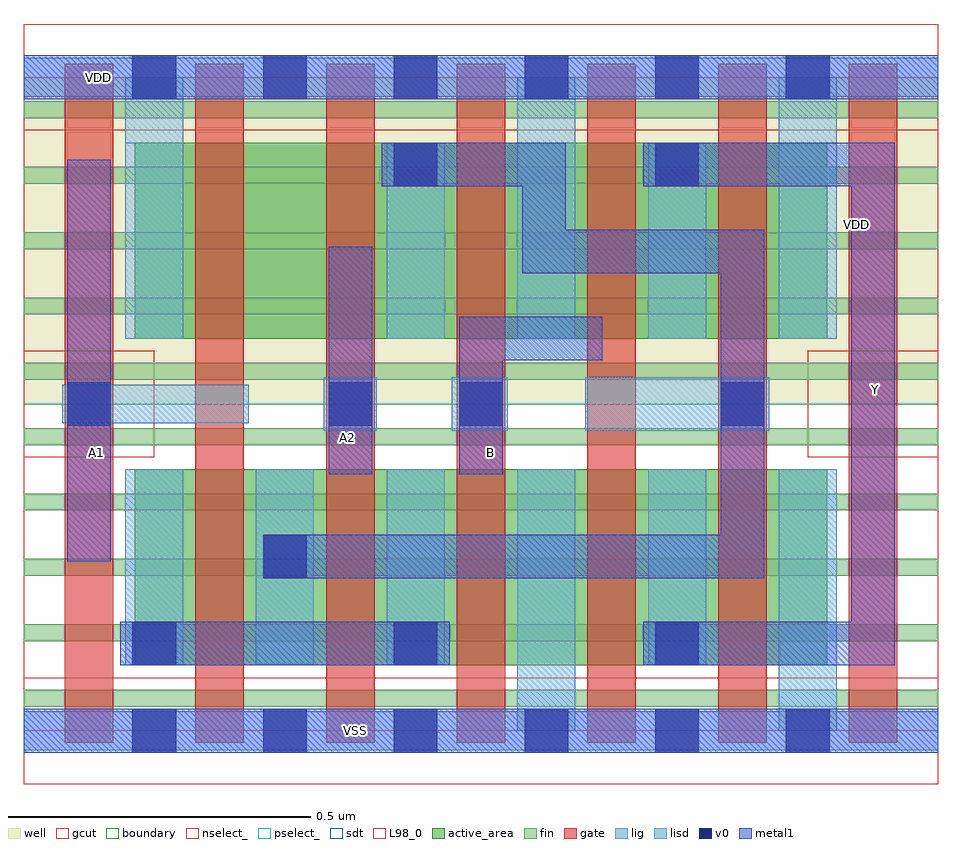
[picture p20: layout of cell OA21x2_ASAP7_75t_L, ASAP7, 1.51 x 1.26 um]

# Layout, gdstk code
import gdstk
lib = gdstk.Library(unit=1e-6, precision=2.5e-10)
def R(c, l, rs):  # rectangles x0, y0, x1, y1
    for r in rs: c.add(gdstk.rectangle(r[:2], r[2:], *l))
def A(c, l, x, y, w, h, nx, ny, dx, dy):  # array of equal rectangles
    R(c, l, [(x+i*dx, y+j*dy, x+i*dx+w, y+j*dy+h) for i in range(nx) for j in range(ny)])
def P(c, l, *ps):  # polygons
    for p in ps: c.add(gdstk.Polygon(p, *l))
well = (1, 0)
fin = (2, 0)
gate = (7, 0)
gcut = (10, 0)
active_area = (11, 0)
nselect_ = (12, 0)
pselect_ = (13, 0)
lig = (16, 0)
lisd = (17, 0)
v0 = (18, 0)
metal1 = (19, 0)
sdt = (88, 0)
L98_0 = (98, 0)
boundary = (100, 0)

oa21x2_asap7_75t_l = lib.new_cell('OA21x2_ASAP7_75t_L')
R(oa21x2_asap7_75t_l, well, [(0,0.54,1.512,1.08)])
A(oa21x2_asap7_75t_l, fin, 0, 0.04, 1.512, 0.028, 1, 10, 0, 0.108)
A(oa21x2_asap7_75t_l, gate, 0.068, -0.02, 0.08, 1.122, 7, 1, 0.216, 0)
R(oa21x2_asap7_75t_l, gcut, [(0,-0.088,1.512,0.088), (0,0.452,0.216,0.628), (1.296,0.452,1.512,0.628), (0,0.992,1.512,1.168)])
R(oa21x2_asap7_75t_l, active_area, [(0.184,0.108,1.328,0.432), (0.184,0.648,1.328,0.972)])
R(oa21x2_asap7_75t_l, nselect_, [(0,0,1.512,0.54)])
R(oa21x2_asap7_75t_l, pselect_, [(0,0.54,1.512,1.08)])
R(oa21x2_asap7_75t_l, lig, [(0,-0.032,1.512,0.032), (0.496,0.496,0.584,0.584), (0.708,0.496,0.8,0.584), (0.928,0.496,1.232,0.584), (0.064,0.508,0.372,0.572), (0,1.048,1.512,1.112)])
A(oa21x2_asap7_75t_l, lisd, 0.168, 0.108, 0.096, 0.324, 3, 1, 0.216, 0)
R(oa21x2_asap7_75t_l, lisd, [(0.816,0,0.912,0.432), (1.248,0,1.344,0.432), (1.032,0.108,1.128,0.432), (0.168,0.648,0.264,1.08), (0.6,0.648,0.696,0.972), (0.816,0.648,0.912,1.08), (1.032,0.648,1.128,0.972), (1.248,0.648,1.344,1.08)])
A(oa21x2_asap7_75t_l, v0, 0.18, -0.036, 0.072, 0.072, 6, 2, 0.216, 1.08)
A(oa21x2_asap7_75t_l, v0, 0.18, 0.108, 0.072, 0.072, 3, 1, 0.432, 0)
R(oa21x2_asap7_75t_l, v0, [(0.396,0.252,0.468,0.324), (0.072,0.504,0.144,0.576), (0.504,0.504,0.576,0.576), (0.72,0.504,0.792,0.576), (1.152,0.504,1.224,0.576), (0.612,0.9,0.684,0.972), (1.044,0.9,1.116,0.972)])
R(oa21x2_asap7_75t_l, metal1, [(0,-0.036,1.512,0.036), (0.16,0.108,0.704,0.18), (0.072,0.28,0.144,0.944), (0.504,0.424,0.576,0.8), (0,1.044,1.512,1.116)])
P(oa21x2_asap7_75t_l, metal1, [(0.956,0.684),(0.72,0.684),(0.72,0.424),(0.792,0.424),(0.792,0.612),(0.956,0.612)],
  [(1.224,0.828),(0.896,0.828),(0.896,0.972),(0.592,0.972),(0.592,0.9),(0.824,0.9),(0.824,0.756),(1.152,0.756),(1.152,0.324),(0.396,0.324),(0.396,0.252),(1.224,0.252)],
  [(1.44,0.972),(1.024,0.972),(1.024,0.9),(1.368,0.9),(1.368,0.18),(1.024,0.18),(1.024,0.108),(1.44,0.108)])
A(oa21x2_asap7_75t_l, sdt, 0.168, 0.108, 0.096, 0.324, 6, 1, 0.216, 0)
A(oa21x2_asap7_75t_l, sdt, 0.6, 0.648, 0.096, 0.324, 4, 1, 0.216, 0)
R(oa21x2_asap7_75t_l, sdt, [(0.168,0.648,0.264,0.972)])
R(oa21x2_asap7_75t_l, L98_0, [(0,0,1.512,1.08)])
R(oa21x2_asap7_75t_l, boundary, [(0,0,1.512,1.08)])
oa21x2_asap7_75t_l.add(gdstk.Label('VDD', (1.376,0.836), layer=1, texttype=251))
oa21x2_asap7_75t_l.add(gdstk.Label('VSS', (0.548,0), layer=19, texttype=251))
oa21x2_asap7_75t_l.add(gdstk.Label('Y', (1.408,0.564), layer=19, texttype=251))
oa21x2_asap7_75t_l.add(gdstk.Label('B', (0.772,0.46), layer=19, texttype=251))
oa21x2_asap7_75t_l.add(gdstk.Label('A2', (0.536,0.484), layer=19, texttype=251))
oa21x2_asap7_75t_l.add(gdstk.Label('VDD', (0.124,1.08), layer=19, texttype=251))
oa21x2_asap7_75t_l.add(gdstk.Label('A1', (0.12,0.46), layer=19, texttype=251))
oa21x2_asap7_75t_l.add(gdstk.Label('VSS', (1.652,0.832), layer=3, texttype=251))

lib.write_gds('OA21x2_ASAP7_75t_L.gds')
